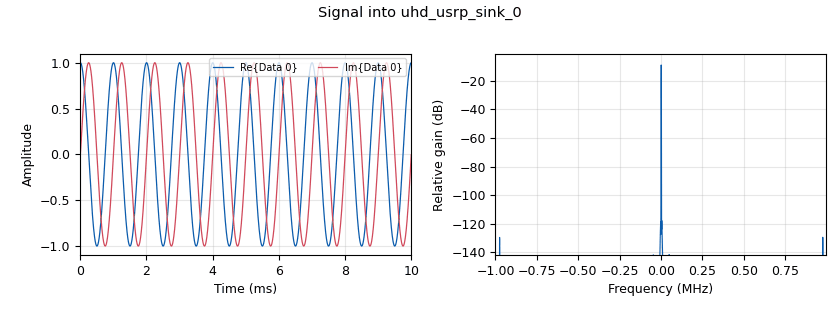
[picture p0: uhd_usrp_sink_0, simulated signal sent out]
<?xml version='1.0' encoding='utf-8'?>
<flow_graph>
<block>
<key>options</key>
<param><key>id</key><value>rand_jammer</value></param>
<param><key>generate_options</key><value>no_gui</value></param>
<param><key>category</key><value>Custom</value></param>
</block>
<block>
<key>variable</key>
<param><key>id</key><value>samp_rate</value></param>
<param><key>value</key><value>2e6</value></param>
</block>
<block>
<key>analog_sig_source_x</key>
<param><key>id</key><value>analog_sig_source_x_0</value></param>
<param><key>type</key><value>complex</value></param>
<param><key>samp_rate</key><value>samp_rate</value></param>
<param><key>waveform</key><value>analog.GR_COS_WAVE</value></param>
<param><key>freq</key><value>1000</value></param>
<param><key>amp</key><value>1</value></param>
<param><key>offset</key><value>0</value></param>
</block>
<block>
<key>uhd_usrp_sink</key>
<param><key>id</key><value>uhd_usrp_sink_0</value></param>
<param><key>type</key><value>fc32</value></param>
<param><key>dev_addr</key><value>"addr=192.168.30.2"</value></param>
<param><key>dev_args</key><value>""</value></param>
<param><key>sync</key><value></value></param>
<param><key>clock_rate</key><value>0.0</value></param>
<param><key>samp_rate</key><value>samp_rate</value></param>
<param><key>center_freq0</key><value>0</value></param>
<param><key>gain0</key><value>31.5</value></param>
<param><key>ant0</key><value>TX/RX</value></param>
<param><key>len_tag_name</key><value></value></param>
</block>
<connection><source_block_id>analog_sig_source_x_0</source_block_id><sink_block_id>uhd_usrp_sink_0</sink_block_id><source_key>0</source_key><sink_key>0</sink_key></connection>
</flow_graph>
